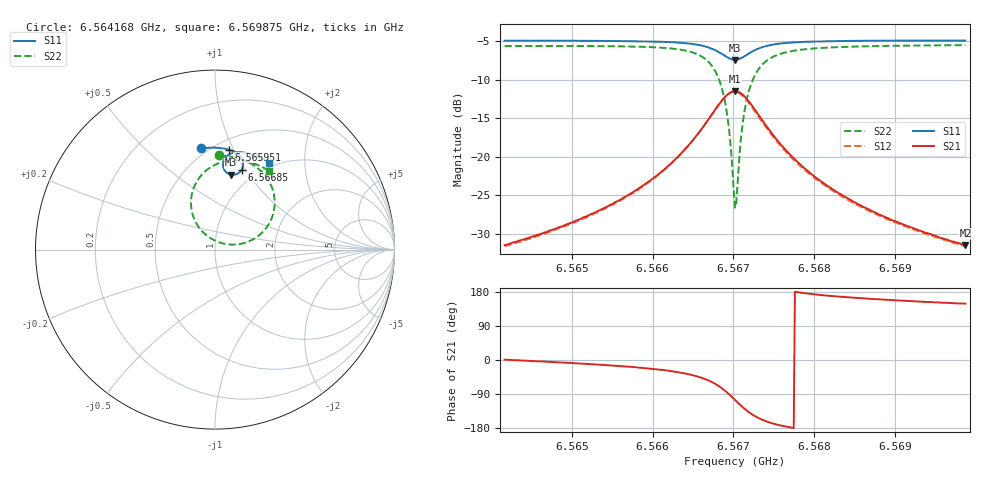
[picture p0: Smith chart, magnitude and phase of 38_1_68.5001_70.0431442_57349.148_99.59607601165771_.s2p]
#  HZ  S  RI  R  50.00
! Rohde & Schwarz Vector Network Analyzer
! Rohde-Schwarz,ZNB20-2Port,1311601062101988,3.16
! Created: UTC 3/20/2024, 5:05:21 PM
! freq[Hz]  re:S11  im:S11  re:S21  im:S21  re:S12  im:S12  re:S22  im:S22
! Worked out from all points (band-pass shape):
!   401 points, 6.564168 GHz to 6.569875 GHz, reference 50 ohm
!   highest |S21| = -11.47 dB at 6.567021 GHz (marker M1); lowest = -31.5 dB at 6.569875 GHz (marker M2)
!   |S21| within 3 dB of the highest: 6.566737 GHz to 6.567307 GHz (570.6 kHz wide, 0.00869 % of centre)
!   lowest |S11| = -7.4 dB at 6.567021 GHz (marker M3), VSWR 2.49, Z = 40.7 + j41.6 ohm
!   |S11| at or under -10 dB: nowhere
!   |S22| runs from -26.6 to -5.5 dB; largest |S21 - S12| = 0.012
!   S11 on the Smith chart (normalised r, x): 6.564168 GHz: 0.46, +0.76; 6.565951 GHz: 0.59, +0.96; 6.56685 GHz: 0.85, +0.97; 6.569875 GHz: 0.93, +1.34
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6.564168e9  -0.0773 0.5637  0.0267 0.00039  0.0263 -0.000158  0.0217 0.5247
6.5651238e9  0.000152 0.5679  0.0392 -0.00664  0.0386 -0.00711  0.1099 0.5135
6.5659513e9  0.0754 0.5575  0.0637 -0.026  0.0627 -0.0268  0.2112 0.4726
6.5660797e9  0.0886 0.5533  0.0702 -0.0329  0.0691 -0.0337  0.2316 0.4586
6.5663936e9  0.1235 0.535  0.0905 -0.0636  0.089 -0.0648  0.2901 0.3979
6.5666218e9  0.1494 0.5052  0.104 -0.1152  0.1015 -0.1174  0.3296 0.2984
6.5667502e9  0.1567 0.4753  0.0972 -0.1673  0.0932 -0.1702  0.324 0.1991
6.5668501e9  0.1489 0.4452  0.0664 -0.219  0.0594 -0.2216  0.27 0.1023
6.5668929e9  0.1393 0.4327  0.0415 -0.2398  0.0329 -0.2414  0.2247 0.0645
6.5669357e9  0.1254 0.4226  0.00899 -0.2554  -0.00116 -0.2554  0.1655 0.0373
6.567007e9  0.0951 0.4168  -0.0572 -0.2604  -0.0677 -0.2561  0.0479 0.0332
6.5670213e9  0.0888 0.4177  -0.0704 -0.2575  -0.0811 -0.2521  0.0246 0.0398
6.5670498e9  0.0767 0.4217  -0.0962 -0.2476  -0.1059 -0.2406  -0.0193 0.0599
6.5671069e9  0.0571 0.4369  -0.138 -0.2155  -0.1449 -0.2059  -0.0878 0.1216
6.5671497e9  0.0484 0.4518  -0.1583 -0.1855  -0.1626 -0.175  -0.1183 0.1768
6.5672068e9  0.0443 0.4723  -0.1712 -0.1451  -0.1726 -0.1349  -0.1336 0.2489
6.5672781e9  0.0482 0.4945  -0.1709 -0.1017  -0.1699 -0.0933  -0.1251 0.324
6.5675349e9  0.0873 0.534  -0.1281 -0.022  -0.1254 -0.0185  -0.0283 0.4563
6.5679772e9  0.1457 0.5423  -0.0761 0.008  -0.0743 0.00925  0.0932 0.4968
6.5683909e9  0.187 0.5349  -0.0529 0.0133  -0.0516 0.0139  0.1606 0.4933
6.568933e9  0.2324 0.5197  -0.0367 0.0144  -0.0359 0.0148  0.2226 0.4772
6.5698746e9  0.3008 0.4853  -0.0227 0.0139  -0.0223 0.0139  0.302 0.4386
